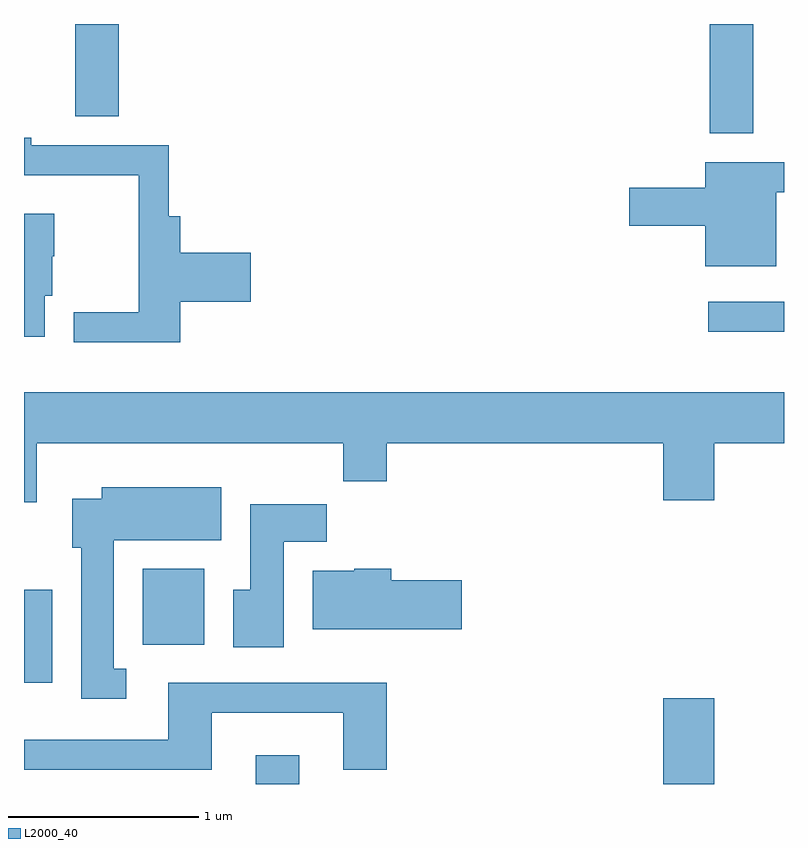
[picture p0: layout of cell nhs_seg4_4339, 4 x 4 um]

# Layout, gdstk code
import gdstk
lib = gdstk.Library(unit=1e-6, precision=1e-09)
def R(c, l, rs):  # rectangles x0, y0, x1, y1
    for r in rs: c.add(gdstk.rectangle(r[:2], r[2:], *l))
def P(c, l, *ps):  # polygons
    for p in ps: c.add(gdstk.Polygon(p, *l))
L2000_40 = (2000, 40)

nhs_seg4_4339 = lib.new_cell('nhs_seg4_4339')
R(nhs_seg4_4339, L2000_40, [(312.831,1363.982,313.059,1364.134), (314.976,1363.982,315.244,1364.434), (311.611,1364.516,311.759,1365.004), (312.236,1364.716,312.559,1365.114), (315.213,1366.361,315.611,1366.519), (315.221,1367.406,315.449,1367.982), (311.881,1367.496,312.109,1367.982)])
P(nhs_seg4_4339, L2000_40, [(312.434,1366.521),(312.804,1366.521),(312.804,1366.779),(312.434,1366.779),(312.434,1366.969),(312.374,1366.969),(312.374,1367.344),(311.649,1367.344),(311.649,1367.384),(311.611,1367.384),(311.611,1367.186),(312.216,1367.186),(312.216,1366.464),(311.873,1366.464),(311.873,1366.306),(312.434,1366.306)],
  [(315.569,1367.096),(315.611,1367.096),(315.611,1367.254),(315.196,1367.254),(315.196,1367.119),(314.796,1367.119),(314.796,1366.921),(315.196,1366.921),(315.196,1366.706),(315.569,1366.706)],
  [(311.719,1366.551),(311.759,1366.551),(311.759,1366.76),(311.769,1366.76),(311.769,1366.984),(311.611,1366.984),(311.611,1366.336),(311.719,1366.336)],
  [(311.679,1365.776),(313.291,1365.776),(313.291,1365.576),(313.519,1365.576),(313.519,1365.776),(314.976,1365.776),(314.976,1365.476),(315.244,1365.476),(315.244,1365.776),(315.611,1365.776),(315.611,1366.044),(311.611,1366.044),(311.611,1365.466),(311.679,1365.466)],
  [(312.148,1364.589),(312.084,1364.589),(312.084,1365.266),(312.649,1365.266),(312.649,1365.544),(312.021,1365.544),(312.021,1365.484),(311.866,1365.484),(311.866,1365.226),(311.911,1365.226),(311.911,1364.431),(312.148,1364.431)],
  [(312.979,1365.256),(313.204,1365.256),(313.204,1365.454),(312.801,1365.454),(312.801,1365.004),(312.711,1365.004),(312.711,1364.701),(312.979,1364.701)],
  [(313.914,1365.054),(313.544,1365.054),(313.544,1365.114),(313.35,1365.114),(313.35,1365.104),(313.131,1365.104),(313.131,1364.796),(313.914,1364.796)],
  [(312.599,1364.356),(313.291,1364.356),(313.291,1364.056),(313.519,1364.056),(313.519,1364.514),(312.371,1364.514),(312.371,1364.214),(311.611,1364.214),(311.611,1364.056),(312.599,1364.056)])

lib.write_gds('nhs_seg4_4339.gds')
